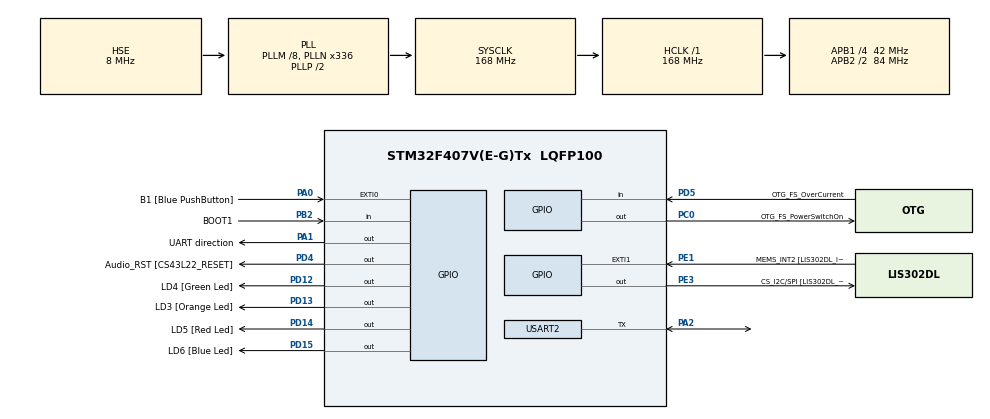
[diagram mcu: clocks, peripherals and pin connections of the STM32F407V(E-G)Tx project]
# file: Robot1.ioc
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Dma.Request0=USART2_TX
Dma.Request1=USART2_RX
Dma.USART2_RX.1.Channel=DMA_CHANNEL_4
Dma.USART2_RX.1.Direction=DMA_PERIPH_TO_MEMORY
Dma.USART2_RX.1.FIFOMode=DMA_FIFOMODE_DISABLE
Dma.USART2_RX.1.FIFOThreshold=DMA_FIFO_THRESHOLD_FULL
Dma.USART2_RX.1.Instance=DMA1_Stream5
Dma.USART2_RX.1.MemBurst=DMA_MBURST_SINGLE
Dma.USART2_RX.1.MemDataAlignment=DMA_MDATAALIGN_BYTE
Dma.USART2_RX.1.MemInc=DMA_MINC_DISABLE
Dma.USART2_RX.1.Mode=DMA_CIRCULAR
Dma.USART2_RX.1.PeriphBurst=DMA_PBURST_SINGLE
Dma.USART2_RX.1.PeriphDataAlignment=DMA_PDATAALIGN_BYTE
Dma.USART2_RX.1.PeriphInc=DMA_PINC_DISABLE
Dma.USART2_RX.1.Priority=DMA_PRIORITY_HIGH
Dma.USART2_TX.0.Channel=DMA_CHANNEL_4
Dma.USART2_TX.0.Direction=DMA_MEMORY_TO_PERIPH
Dma.USART2_TX.0.FIFOMode=DMA_FIFOMODE_DISABLE
Dma.USART2_TX.0.FIFOThreshold=DMA_FIFO_THRESHOLD_FULL
Dma.USART2_TX.0.Instance=DMA1_Stream6
Dma.USART2_TX.0.MemBurst=DMA_MBURST_SINGLE
Dma.USART2_TX.0.MemDataAlignment=DMA_MDATAALIGN_BYTE
Dma.USART2_TX.0.MemInc=DMA_MINC_ENABLE
Dma.USART2_TX.0.Mode=DMA_NORMAL
Dma.USART2_TX.0.PeriphBurst=DMA_PBURST_SINGLE
Dma.USART2_TX.0.PeriphDataAlignment=DMA_PDATAALIGN_BYTE
Dma.USART2_TX.0.PeriphInc=DMA_PINC_DISABLE
Dma.USART2_TX.0.Priority=DMA_PRIORITY_HIGH
FREERTOS.BinarySemaphores01=xRxSemaphore
FREERTOS.HEAP_NUMBER=4
FREERTOS.INCLUDE_eTaskGetState=1
FREERTOS.INCLUDE_pcTaskGetTaskName=1
FREERTOS.INCLUDE_uxTaskGetStackHighWaterMark=1
FREERTOS.INCLUDE_vTaskDelayUntil=1
FREERTOS.INCLUDE_xQueueGetMutexHolder=1
FREERTOS.INCLUDE_xSemaphoreGetMutexHolder=1
FREERTOS.INCLUDE_xTaskGetCurrentTaskHandle=1
FREERTOS.Tasks01=defaultTask,1,1024,StartDefaultTask;idleTask,-3,128,StartIdleTask
FREERTOS.configCHECK_FOR_STACK_OVERFLOW=0
FREERTOS.configENABLE_BACKWARD_COMPATIBILITY=0
FREERTOS.configGENERATE_RUN_TIME_STATS=0
FREERTOS.configTOTAL_HEAP_SIZE=127000
FREERTOS.configUSE_ALTERNATIVE_API=1
FREERTOS.configUSE_IDLE_HOOK=1
FREERTOS.configUSE_PORT_OPTIMISED_TASK_SELECTION=1
FREERTOS.configUSE_TRACE_FACILITY=0
Mcu.Family=STM32F4
Mcu.Name=STM32F407V(E-G)Tx
Mcu.Package=LQFP100
NVIC.DMA1_Stream5_IRQn=true\:5\:0\:false
NVIC.DMA1_Stream6_IRQn=true\:5\:0\:true
NVIC.PriorityGroup=NVIC_PRIORITYGROUP_4
NVIC.USART2_IRQn=true\:5\:0\:false
PA0-WKUP.GPIO_Label=B1 [Blue PushButton]
PA0-WKUP.GPIO_ModeDefaultEXTI=GPIO_MODE_EVT_RISING
PA0-WKUP.GPIO_PuPd=GPIO_NOPULL
PA0-WKUP.Signal=GPXTI0
PA1.GPIO_Label=UART direction
PA1.GPIO_ModeDefaultOutputPP=GPIO_MODE_OUTPUT_PP
PA1.GPIO_PuPd=GPIO_NOPULL
PA1.GPIO_Speed=GPIO_SPEED_MEDIUM
PA1.Signal=GPIO_Output
PA10.GPIO_Label=OTG_FS_ID
PA10.GPIO_Mode=GPIO_MODE_AF_PP
PA10.GPIO_PuPd=GPIO_NOPULL
PA10.GPIO_Speed=GPIO_SPEED_LOW
PA10.Signal=USB_OTG_FS_ID
PA11.GPIO_Label=OTG_FS_DM
PA11.GPIO_Mode=GPIO_MODE_AF_PP
PA11.GPIO_PuPd=GPIO_NOPULL
PA11.GPIO_Speed=GPIO_SPEED_LOW
PA11.Signal=USB_OTG_FS_DM
PA12.GPIO_Label=OTG_FS_DP
PA12.GPIO_Mode=GPIO_MODE_AF_PP
PA12.GPIO_PuPd=GPIO_NOPULL
PA12.GPIO_Speed=GPIO_SPEED_LOW
PA12.Signal=USB_OTG_FS_DP
PA13.GPIO_Label=SWDIO
PA13.Mode=Trace-Asynchronous_SW
PA13.Signal=SYS_JTMS-SWDIO
PA14.GPIO_Label=SWCLK
PA14.Mode=Trace-Asynchronous_SW
PA14.Signal=SYS_JTCK-SWCLK
PA2.Mode=Half_duplex(single_wire_mode)
PA2.Signal=USART2_TX
PA4.GPIO_Label=I2S3_WS [CS43L22_LRCK]
PA4.GPIO_Mode=GPIO_MODE_AF_PP
PA4.GPIO_PuPd=GPIO_NOPULL
PA4.GPIO_Speed=GPIO_SPEED_LOW
PA4.Signal=I2S3_WS
PA5.GPIO_Label=SPI1_SCK [LIS302DL_SCL/SPC]
PA5.GPIO_Mode=GPIO_MODE_AF_PP
PA5.GPIO_PuPd=GPIO_NOPULL
PA5.GPIO_Speed=GPIO_SPEED_LOW
PA5.Signal=SPI1_SCK
PA6.GPIO_Label=SPI1_MISO [LIS302DL_SDO]
PA6.GPIO_Mode=GPIO_MODE_AF_PP
PA6.GPIO_PuPd=GPIO_NOPULL
PA6.GPIO_Speed=GPIO_SPEED_LOW
PA6.Signal=SPI1_MISO
PA7.GPIO_Label=SPI1_MOSI [LIS302DL_SDA/SDI/SDO]
PA7.GPIO_Mode=GPIO_MODE_AF_PP
PA7.GPIO_PuPd=GPIO_NOPULL
PA7.GPIO_Speed=GPIO_SPEED_LOW
PA7.Signal=SPI1_MOSI
PA9.GPIO_Label=VBUS_FS
PA9.GPIO_Mode=GPIO_MODE_INPUT
PA9.GPIO_PuPd=GPIO_NOPULL
PA9.Signal=USB_OTG_FS_VBUS
PB10.GPIO_Label=CLK_IN [MP45DT02_CLK]
PB10.GPIO_Mode=GPIO_MODE_AF_PP
PB10.GPIO_PuPd=GPIO_NOPULL
PB10.GPIO_Speed=GPIO_SPEED_LOW
PB10.Signal=I2S2_CK
PB2.GPIO_Label=BOOT1
PB2.GPIO_Mode=GPIO_MODE_INPUT
PB2.GPIO_PuPd=GPIO_NOPULL
PB2.Signal=GPIO_Input
PB3.GPIO_Label=SWO
PB3.Mode=Trace-Asynchronous_SW
PB3.Signal=SYS_JTDO-SWO
PB6.GPIO_Label=Audio_SCL [CS43L22_SCL]
PB6.GPIO_Mode=GPIO_MODE_AF_OD
PB6.GPIO_PuPd=GPIO_NOPULL
PB6.GPIO_PuPdOD=GPIO_PULLUP
PB6.GPIO_Speed=GPIO_SPEED_LOW
PB6.Signal=I2C1_SCL
PB9.GPIO_Label=Audio_SDA [CS43L22_SDA]
PB9.GPIO_Mode=GPIO_MODE_AF_OD
PB9.GPIO_PuPd=GPIO_NOPULL
PB9.GPIO_PuPdOD=GPIO_PULLUP
PB9.GPIO_Speed=GPIO_SPEED_LOW
PB9.Signal=I2C1_SDA
PC0.GPIO_Label=OTG_FS_PowerSwitchOn
PC0.GPIO_ModeDefaultOutputPP=GPIO_MODE_OUTPUT_PP
PC0.GPIO_PuPd=GPIO_NOPULL
PC0.GPIO_Speed=GPIO_SPEED_LOW
PC0.Signal=GPIO_Output
PC10.GPIO_Label=I2S3_SCK [CS43L22_SCLK]
PC10.GPIO_Mode=GPIO_MODE_AF_PP
PC10.GPIO_PuPd=GPIO_NOPULL
PC10.GPIO_Speed=GPIO_SPEED_LOW
PC10.Signal=I2S3_CK
PC12.GPIO_Label=I2S3_SD [CS43L22_SDIN]
PC12.GPIO_Mode=GPIO_MODE_AF_PP
PC12.GPIO_PuPd=GPIO_NOPULL
PC12.GPIO_Speed=GPIO_SPEED_LOW
PC12.Signal=I2S3_SD
PC14-OSC32_IN.GPIO_Label=PC14-OSC32_IN
PC14-OSC32_IN.Signal=RCC_OSC32_IN
PC15-OSC32_OUT.GPIO_Label=PC15-OSC32_OUT
PC15-OSC32_OUT.Signal=RCC_OSC32_OUT
PC3.GPIO_Label=PDM_OUT [MP45DT02_DOUT]
PC3.GPIO_Mode=GPIO_MODE_AF_PP
PC3.GPIO_PuPd=GPIO_NOPULL
PC3.GPIO_Speed=GPIO_SPEED_LOW
PC3.Signal=I2S2_SD
PC7.GPIO_Label=I2S3_MCK [CS43L22_MCLK]
PC7.GPIO_Mode=GPIO_MODE_AF_PP
PC7.GPIO_PuPd=GPIO_NOPULL
PC7.GPIO_Speed=GPIO_SPEED_LOW
PC7.Signal=I2S3_MCK
PD12.GPIO_Label=LD4 [Green Led]
PD12.GPIO_ModeDefaultOutputPP=GPIO_MODE_OUTPUT_PP
PD12.GPIO_PuPd=GPIO_NOPULL
PD12.GPIO_Speed=GPIO_SPEED_LOW
PD12.Signal=GPIO_Output
PD13.GPIO_Label=LD3 [Orange Led]
PD13.GPIO_ModeDefaultOutputPP=GPIO_MODE_OUTPUT_PP
PD13.GPIO_PuPd=GPIO_NOPULL
PD13.GPIO_Speed=GPIO_SPEED_LOW
PD13.Signal=GPIO_Output
PD14.GPIO_Label=LD5 [Red Led]
PD14.GPIO_ModeDefaultOutputPP=GPIO_MODE_OUTPUT_PP
PD14.GPIO_PuPd=GPIO_NOPULL
PD14.GPIO_Speed=GPIO_SPEED_LOW
PD14.Signal=GPIO_Output
PD15.GPIO_Label=LD6 [Blue Led]
PD15.GPIO_ModeDefaultOutputPP=GPIO_MODE_OUTPUT_PP
PD15.GPIO_PuPd=GPIO_NOPULL
PD15.GPIO_Speed=GPIO_SPEED_LOW
PD15.Signal=GPIO_Output
PD4.GPIO_Label=Audio_RST [CS43L22_RESET]
PD4.GPIO_ModeDefaultOutputPP=GPIO_MODE_OUTPUT_PP
PD4.GPIO_PuPd=GPIO_NOPULL
PD4.GPIO_Speed=GPIO_SPEED_LOW
PD4.Signal=GPIO_Output
PD5.GPIO_Label=OTG_FS_OverCurrent
PD5.GPIO_Mode=GPIO_MODE_INPUT
PD5.GPIO_PuPd=GPIO_NOPULL
PD5.Signal=GPIO_Input
PE1.GPIO_Label=MEMS_INT2 [LIS302DL_INT2]
PE1.GPIO_ModeDefaultEXTI=GPIO_MODE_EVT_RISING
PE1.GPIO_PuPd=GPIO_NOPULL
PE1.Signal=GPXTI1
PE3.GPIO_Label=CS_I2C/SPI [LIS302DL_CS_I2C/SPI]
PE3.GPIO_ModeDefaultOutputPP=GPIO_MODE_OUTPUT_PP
PE3.GPIO_PuPd=GPIO_NOPULL
PE3.GPIO_Speed=GPIO_SPEED_LOW
PE3.Signal=GPIO_Output
PH0-OSC_IN.GPIO_Label=PH0-OSC_IN
PH0-OSC_IN.Mode=HSE-External-Oscillator
PH0-OSC_IN.Signal=RCC_OSC_IN
PH1-OSC_OUT.GPIO_Label=PH1-OSC_OUT
PH1-OSC_OUT.Mode=HSE-External-Oscillator
PH1-OSC_OUT.Signal=RCC_OSC_OUT
ProjectManager.TargetToolchain=TrueSTUDIO
RCC.48MHZClocksFreq_Value=48000000
RCC.AHBFreq_Value=168000000
RCC.APB1CLKDivider=RCC_HCLK_DIV4
RCC.APB1Freq_Value=42000000
RCC.APB1TimFreq_Value=84000000
RCC.APB2CLKDivider=RCC_HCLK_DIV2
RCC.APB2Freq_Value=84000000
RCC.APB2TimFreq_Value=168000000
RCC.CortexFreq_Value=168000000
RCC.DATA_CACHE_ENABLE=1
RCC.HCLKFreq_Value=168000000
RCC.HSE_VALUE=8000000
RCC.HSI_VALUE=16000000
RCC.INSTRUCTION_CACHE_ENABLE=1
RCC.LSE_VALUE=32768
RCC.PLLM=8
RCC.PLLN=336
RCC.PLLQ=7
RCC.PLLSourceVirtual=RCC_PLLSOURCE_HSE
RCC.PREFETCH_ENABLE=1
RCC.SYSCLKFreq_VALUE=168000000
RCC.SYSCLKSource=RCC_SYSCLKSOURCE_PLLCLK
RCC.VCOOutputFreq_Value=336000000
RCC.VDD_VALUE=3
USART2.BaudRate=2000000
USART2.Mode=UART_MODE_TX_RX
VP_FREERTOS_VS_ENABLE.Mode=Enabled
board=STM32F4DISCOVERY

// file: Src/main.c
/**
  ******************************************************************************
  * File Name          : main.c
  * Description        : Main program body
  ******************************************************************************
  *
  * COPYRIGHT(c) 2015 STMicroelectronics
  *
  * Redistribution and use in source and binary forms, with or without modification,
  * are permitted provided that the following conditions are met:
  *   1. Redistributions of source code must retain the above copyright notice,
  *      this list of conditions and the following disclaimer.
  *   2. Redistributions in binary form must reproduce the above copyright notice,
  *      this list of conditions and the following disclaimer in the documentation
  *      and/or other materials provided with the distribution.
  *   3. Neither the name of STMicroelectronics nor the names of its contributors
  *      may be used to endorse or promote products derived from this software
  *      without specific prior written permission.
  *
  * THIS SOFTWARE IS PROVIDED BY THE COPYRIGHT HOLDERS AND CONTRIBUTORS "AS IS"
  * AND ANY EXPRESS OR IMPLIED WARRANTIES, INCLUDING, BUT NOT LIMITED TO, THE
  * IMPLIED WARRANTIES OF MERCHANTABILITY AND FITNESS FOR A PARTICULAR PURPOSE ARE
  * DISCLAIMED. IN NO EVENT SHALL THE COPYRIGHT HOLDER OR CONTRIBUTORS BE LIABLE
  * FOR ANY DIRECT, INDIRECT, INCIDENTAL, SPECIAL, EXEMPLARY, OR CONSEQUENTIAL
  * DAMAGES (INCLUDING, BUT NOT LIMITED TO, PROCUREMENT OF SUBSTITUTE GOODS OR
  * SERVICES; LOSS OF USE, DATA, OR PROFITS; OR BUSINESS INTERRUPTION) HOWEVER
  * CAUSED AND ON ANY THEORY OF LIABILITY, WHETHER IN CONTRACT, STRICT LIABILITY,
  * OR TORT (INCLUDING NEGLIGENCE OR OTHERWISE) ARISING IN ANY WAY OUT OF THE USE
  * OF THIS SOFTWARE, EVEN IF ADVISED OF THE POSSIBILITY OF SUCH DAMAGE.
  *
  ******************************************************************************
  */
#include "stm32f4xx_hal.h"
#include "cmsis_os.h"

/* USER CODE BEGIN Includes */
#include "task.h"
#include "c:\SysGCC\arm-eabi\arm-eabi\sys-include\stdint.h"
#include <math.h>
/* USER CODE END Includes */

UART_HandleTypeDef huart2;

osThreadId defaultTaskHandle;
osThreadId idleTaskHandle;

/* USER CODE BEGIN PV */
/* Private variables ---------------------------------------------------------*/

/* USER CODE END PV */

void SystemClock_Config(void);
static void MX_GPIO_Init(void);
static void MX_USART2_UART_Init(void);
void StartDefaultTask(void const * argument);
void StartIdleTask(void const * argument);

/* USER CODE BEGIN PFP */
/* Private function prototypes -----------------------------------------------*/

/* USER CODE END PFP */

int main(void)
{

  /* MCU Configuration----------------------------------------------------------*/

  /* Reset of all peripherals, Initializes the Flash interface and the Systick. */
  HAL_Init();

  /* Configure the system clock */
  SystemClock_Config();

  /* Initialize all configured peripherals */
  MX_GPIO_Init();
  MX_USART2_UART_Init();

  /* Create the thread(s) */
  /* definition and creation of defaultTask */
  osThreadDef(defaultTask, StartDefaultTask, osPriorityNormal, 0, 128);
  defaultTaskHandle = osThreadCreate(osThread(defaultTask), NULL);

  /* definition and creation of idleTask */
  osThreadDef(idleTask, StartIdleTask, osPriorityIdle, 0, 128);
  idleTaskHandle = osThreadCreate(osThread(idleTask), NULL);

  /* Start scheduler */
  osKernelStart();

  /* We should never get here as control is now taken by the scheduler */

  /* Infinite loop */
	while (1)
	{

	}

}

/** System Clock Configuration
*/
void SystemClock_Config(void)
{

  RCC_OscInitTypeDef RCC_OscInitStruct;
  RCC_ClkInitTypeDef RCC_ClkInitStruct;

  __PWR_CLK_ENABLE();

  __HAL_PWR_VOLTAGESCALING_CONFIG(PWR_REGULATOR_VOLTAGE_SCALE1);

  RCC_OscInitStruct.OscillatorType = RCC_OSCILLATORTYPE_HSE;
  RCC_OscInitStruct.HSEState = RCC_HSE_ON;
  RCC_OscInitStruct.PLL.PLLState = RCC_PLL_ON;
  RCC_OscInitStruct.PLL.PLLSource = RCC_PLLSOURCE_HSE;
  RCC_OscInitStruct.PLL.PLLM = 8;
  RCC_OscInitStruct.PLL.PLLN = 336;
  RCC_OscInitStruct.PLL.PLLP = RCC_PLLP_DIV2;
  RCC_OscInitStruct.PLL.PLLQ = 7;
  HAL_RCC_OscConfig(&RCC_OscInitStruct);

  RCC_ClkInitStruct.ClockType = RCC_CLOCKTYPE_SYSCLK|RCC_CLOCKTYPE_PCLK1
                              |RCC_CLOCKTYPE_PCLK2;
  RCC_ClkInitStruct.SYSCLKSource = RCC_SYSCLKSOURCE_PLLCLK;
  RCC_ClkInitStruct.AHBCLKDivider = RCC_SYSCLK_DIV1;
  RCC_ClkInitStruct.APB1CLKDivider = RCC_HCLK_DIV4;
  RCC_ClkInitStruct.APB2CLKDivider = RCC_HCLK_DIV2;
  HAL_RCC_ClockConfig(&RCC_ClkInitStruct, FLASH_LATENCY_5);

  HAL_SYSTICK_Config(HAL_RCC_GetHCLKFreq()/1000);

  HAL_SYSTICK_CLKSourceConfig(SYSTICK_CLKSOURCE_HCLK);

}

/* USART2 init function */
void MX_USART2_UART_Init(void)
{

  huart2.Instance = USART2;
  huart2.Init.BaudRate = 1e6;
  huart2.Init.WordLength = UART_WORDLENGTH_8B;
  huart2.Init.StopBits = UART_STOPBITS_1;
  huart2.Init.Parity = UART_PARITY_NONE;
  huart2.Init.Mode = UART_MODE_TX_RX;
  huart2.Init.HwFlowCtl = UART_HWCONTROL_NONE;
  huart2.Init.OverSampling = UART_OVERSAMPLING_8;
  HAL_HalfDuplex_Init(&huart2);
}

/** Configure pins as
        * Analog
        * Input
        * Output
        * EVENT_OUT
        * EXTI
     PC3   ------> I2S2_SD
     PA4   ------> I2S3_WS
     PA5   ------> SPI1_SCK
     PA6   ------> SPI1_MISO
     PA7   ------> SPI1_MOSI
     PB10   ------> I2S2_CK
     PC7   ------> I2S3_MCK
     PA9   ------> USB_OTG_FS_VBUS
     PA10   ------> USB_OTG_FS_ID
     PA11   ------> USB_OTG_FS_DM
     PA12   ------> USB_OTG_FS_DP
     PC10   ------> I2S3_CK
     PC12   ------> I2S3_SD
     PB6   ------> I2C1_SCL
     PB9   ------> I2C1_SDA
*/
void MX_GPIO_Init(void)
{

  GPIO_InitTypeDef GPIO_InitStruct;

  /* GPIO Ports Clock Enable */
  __GPIOE_CLK_ENABLE();
  __GPIOC_CLK_ENABLE();
  __GPIOH_CLK_ENABLE();
  __GPIOA_CLK_ENABLE();
  __GPIOB_CLK_ENABLE();
  __GPIOD_CLK_ENABLE();

  /*Configure GPIO pin : PE3 */
  GPIO_InitStruct.Pin = GPIO_PIN_3;
  GPIO_InitStruct.Mode = GPIO_MODE_OUTPUT_PP;
  GPIO_InitStruct.Pull = GPIO_NOPULL;
  GPIO_InitStruct.Speed = GPIO_SPEED_LOW;
  HAL_GPIO_Init(GPIOE, &GPIO_InitStruct);

  /*Configure GPIO pin : PC0 */
  GPIO_InitStruct.Pin = GPIO_PIN_0;
  GPIO_InitStruct.Mode = GPIO_MODE_OUTPUT_PP;
  GPIO_InitStruct.Pull = GPIO_NOPULL;
  GPIO_InitStruct.Speed = GPIO_SPEED_LOW;
  HAL_GPIO_Init(GPIOC, &GPIO_InitStruct);

  /*Configure GPIO pin : PC3 */
  GPIO_InitStruct.Pin = GPIO_PIN_3;
  GPIO_InitStruct.Mode = GPIO_MODE_AF_PP;
  GPIO_InitStruct.Pull = GPIO_NOPULL;
  GPIO_InitStruct.Speed = GPIO_SPEED_LOW;
  GPIO_InitStruct.Alternate = GPIO_AF5_SPI2;
  HAL_GPIO_Init(GPIOC, &GPIO_InitStruct);

  /*Configure GPIO pin : PA0 */
  GPIO_InitStruct.Pin = GPIO_PIN_0;
  GPIO_InitStruct.Mode = GPIO_MODE_EVT_RISING;
  GPIO_InitStruct.Pull = GPIO_NOPULL;
  HAL_GPIO_Init(GPIOA, &GPIO_InitStruct);

  /*Configure GPIO pin : PA4 */
  GPIO_InitStruct.Pin = GPIO_PIN_4;
  GPIO_InitStruct.Mode = GPIO_MODE_AF_PP;
  GPIO_InitStruct.Pull = GPIO_NOPULL;
  GPIO_InitStruct.Speed = GPIO_SPEED_LOW;
  GPIO_InitStruct.Alternate = GPIO_AF6_SPI3;
  HAL_GPIO_Init(GPIOA, &GPIO_InitStruct);

  /*Configure GPIO pins : PA5 PA6 PA7 */
  GPIO_InitStruct.Pin = GPIO_PIN_5|GPIO_PIN_6|GPIO_PIN_7;
  GPIO_InitStruct.Mode = GPIO_MODE_AF_PP;
  GPIO_InitStruct.Pull = GPIO_NOPULL;
  GPIO_InitStruct.Speed = GPIO_SPEED_LOW;
  GPIO_InitStruct.Alternate = GPIO_AF5_SPI1;
  HAL_GPIO_Init(GPIOA, &GPIO_InitStruct);

  /*Configure GPIO pin : PB2 */
  GPIO_InitStruct.Pin = GPIO_PIN_2;
  GPIO_InitStruct.Mode = GPIO_MODE_INPUT;
  GPIO_InitStruct.Pull = GPIO_NOPULL;
  HAL_GPIO_Init(GPIOB, &GPIO_InitStruct);

  /*Configure GPIO pin : PB10 */
  GPIO_InitStruct.Pin = GPIO_PIN_10;
  GPIO_InitStruct.Mode = GPIO_MODE_AF_PP;
  GPIO_InitStruct.Pull = GPIO_NOPULL;
  GPIO_InitStruct.Speed = GPIO_SPEED_LOW;
  GPIO_InitStruct.Alternate = GPIO_AF5_SPI2;
  HAL_GPIO_Init(GPIOB, &GPIO_InitStruct);

  /*Configure GPIO pins : PD12 PD13 PD14 PD15
                           PD4 */
  GPIO_InitStruct.Pin = GPIO_PIN_12|GPIO_PIN_13|GPIO_PIN_14|GPIO_PIN_15
                          |GPIO_PIN_4;
  GPIO_InitStruct.Mode = GPIO_MODE_OUTPUT_PP;
  GPIO_InitStruct.Pull = GPIO_NOPULL;
  GPIO_InitStruct.Speed = GPIO_SPEED_LOW;
  HAL_GPIO_Init(GPIOD, &GPIO_InitStruct);

  /*Configure GPIO pins : PC7 PC10 PC12 */
  GPIO_InitStruct.Pin = GPIO_PIN_7|GPIO_PIN_10|GPIO_PIN_12;
  GPIO_InitStruct.Mode = GPIO_MODE_AF_PP;
  GPIO_InitStruct.Pull = GPIO_NOPULL;
  GPIO_InitStruct.Speed = GPIO_SPEED_LOW;
  GPIO_InitStruct.Alternate = GPIO_AF6_SPI3;
  HAL_GPIO_Init(GPIOC, &GPIO_InitStruct);

  /*Configure GPIO pin : PA9 */
  GPIO_InitStruct.Pin = GPIO_PIN_9;
  GPIO_InitStruct.Mode = GPIO_MODE_INPUT;
  GPIO_InitStruct.Pull = GPIO_NOPULL;
  HAL_GPIO_Init(GPIOA, &GPIO_InitStruct);

  /*Configure GPIO pins : PA10 PA11 PA12 */
  GPIO_InitStruct.Pin = GPIO_PIN_10|GPIO_PIN_11|GPIO_PIN_12;
  GPIO_InitStruct.Mode = GPIO_MODE_AF_PP;
  GPIO_InitStruct.Pull = GPIO_NOPULL;
  GPIO_InitStruct.Speed = GPIO_SPEED_LOW;
  GPIO_InitStruct.Alternate = GPIO_AF10_OTG_FS;
  HAL_GPIO_Init(GPIOA, &GPIO_InitStruct);

  /*Configure GPIO pin : PD5 */
  GPIO_InitStruct.Pin = GPIO_PIN_5;
  GPIO_InitStruct.Mode = GPIO_MODE_INPUT;
  GPIO_InitStruct.Pull = GPIO_NOPULL;
  HAL_GPIO_Init(GPIOD, &GPIO_InitStruct);

  /*Configure GPIO pins : PB6 PB9 */
  GPIO_InitStruct.Pin = GPIO_PIN_6|GPIO_PIN_9;
  GPIO_InitStruct.Mode = GPIO_MODE_AF_OD;
  GPIO_InitStruct.Pull = GPIO_PULLUP;
  GPIO_InitStruct.Speed = GPIO_SPEED_LOW;
  GPIO_InitStruct.Alternate = GPIO_AF4_I2C1;
  HAL_GPIO_Init(GPIOB, &GPIO_InitStruct);

  /*Configure GPIO pin : PE1 */
  GPIO_InitStruct.Pin = GPIO_PIN_1;
  GPIO_InitStruct.Mode = GPIO_MODE_EVT_RISING;
  GPIO_InitStruct.Pull = GPIO_NOPULL;
  HAL_GPIO_Init(GPIOE, &GPIO_InitStruct);

}

/* USER CODE BEGIN 4 */
typedef struct {
	uint8_t header1;
	uint8_t header2;
	uint8_t id;
	uint8_t length; // length does not include first 4 bytes
	uint8_t instruction; // or error for status packets
	uint8_t parameter[250]; // reserve for maximum packet size
	uint8_t checksum; // Needs to be copied at end of parameters
} DynamixelPacket;

void CreateMovePacket(DynamixelPacket* packet, uint8_t id, uint16_t position)
{
	packet->header1 = 0xff;
	packet->header2 = 0xff;
	packet->id = id;
	packet->length = 5;
	packet->instruction = 0x03; //write data
	packet->parameter[0] = 0x1e;
	packet->parameter[1] = position & 0xff;
	packet->parameter[2] = (position >> 8) & 0xff;

	uint8_t checksum = 0;
	for (uint8_t i = 2; i < packet->length + 3; i++) {
		checksum += ((uint8_t*)packet)[i];
	}
	checksum ^= 0xff; //xor
	packet->checksum = checksum;
}

void GetDataToSend(DynamixelPacket* packet, uint8_t* data)
{
	data[0] = packet->header1;
	data[1] = packet->header2;
	data[2] = packet->id;
	data[3] = packet->length;
	data[4] = packet->instruction;
	for (uint8_t i = 0; i != packet->length - 2; i++)
		data[5 + i] = packet->parameter[i];
	data[packet->length + 3] = packet->checksum;
}

/* USER CODE END 4 */

/* StartDefaultTask function */
void StartDefaultTask(void const * argument)
{

  /* USER CODE BEGIN 5 */
	/* Infinite loop */
	uint8_t i = 0;
	DynamixelPacket packet;
	uint8_t data[256];
	float angle = 0.1;
	uint16_t motAngle;
	TickType_t lastWakeTime;
	for (;;)
	{
		lastWakeTime = xTaskGetTickCount();
		HAL_GPIO_WritePin(GPIOD, GPIO_PIN_13, GPIO_PIN_SET);
		HAL_GPIO_WritePin(GPIOD, GPIO_PIN_14, GPIO_PIN_RESET);
		angle += 0.004;
		motAngle = 2048 + 1024*(sin(angle)/2+0.5);
		CreateMovePacket(&packet, 0, motAngle);
		//HAL_StatusTypeDef q = HAL_UART_Transmit(&huart2, ((uint8_t*)&packet), packet.length + 4, 0xf);
		GetDataToSend(&packet, data);
		for (uint8_t i = 0; i < 5; i++)
		{
			HAL_UART_Transmit(&huart2, data, packet.length + 4, 0xff);
		}
		/*HAL_UART_Transmit(&huart2, &packet.header1, 1, 0xff);
		HAL_UART_Transmit(&huart2, &packet.header2, 1, 0xff);
		HAL_UART_Transmit(&huart2, &packet.id, 1, 0xff);
		HAL_UART_Transmit(&huart2, &packet.length, 1, 0xff);
		HAL_UART_Transmit(&huart2, &packet.instruction, 1, 0xff);
		HAL_UART_Transmit(&huart2, &packet.parameter[0], 1, 0xff);
		HAL_UART_Transmit(&huart2, &packet.parameter[1], 1, 0xff);
		HAL_UART_Transmit(&huart2, &packet.parameter[2], 1, 0xff);
		HAL_UART_Transmit(&huart2, &packet.checksum, 1, 0xff);*/
		//HAL_GPIO_TogglePin(GPIOD, GPIO_PIN_14);
		//HAL_GPIO_TogglePin(GPIOD, GPIO_PIN_13);
		HAL_GPIO_WritePin(GPIOD, GPIO_PIN_13, GPIO_PIN_RESET);
		HAL_GPIO_WritePin(GPIOD, GPIO_PIN_14, GPIO_PIN_SET);
		osDelayUntil(&lastWakeTime, 3);
		//vTaskDelayUntil(&lastWakeTime, 2);
	}
  /* USER CODE END 5 */
}

/* StartIdleTask function */
void StartIdleTask(void const * argument)
{
  /* USER CODE BEGIN StartIdleTask */
	/* Infinite loop */
	for (;;)
	{
		HAL_GPIO_TogglePin(GPIOD, GPIO_PIN_12);
		osDelay(250);
	}
  /* USER CODE END StartIdleTask */
}

#ifdef USE_FULL_ASSERT

/**
   * @brief Reports the name of the source file and the source line number
   * where the assert_param error has occurred.
   * @param file: pointer to the source file name
   * @param line: assert_param error line source number
   * @retval None
   */
void assert_failed(uint8_t* file, uint32_t line)
{
  /* USER CODE BEGIN 6 */
	/* User can add his own implementation to report the file name and line number,
    ex: printf("Wrong parameters value: file %s on line %d\r\n", file, line) */
	printf("Wrong parameters value: file %s on line %d\r\n", file, line);
  /* USER CODE END 6 */

}

#endif

/************************ (C) COPYRIGHT STMicroelectronics *****END OF FILE****/
